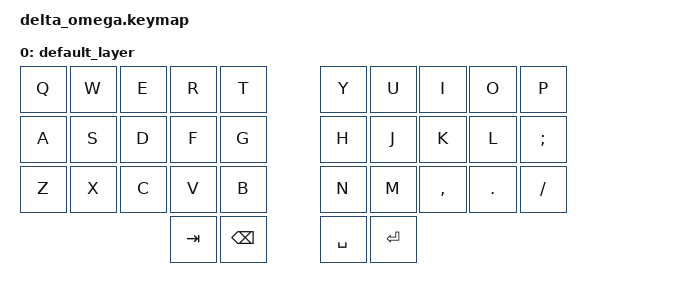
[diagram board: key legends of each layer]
#include <behaviors.dtsi>
#include <dt-bindings/zmk/keys.h>
#include <dt-bindings/zmk/bt.h>
#include <dt-bindings/zmk/outputs.h>

&mt {
    flavor = "balanced";
    tapping-term-ms = <170>;
};

&lt {
    flavor = "balanced";
    tapping-term-ms = <170>;
};

/ {
    keymap {
        compatible = "zmk,keymap";

        default_layer {
            bindings = <
                &kp Q     &kp W     &kp E     &kp R     &kp T     &kp Y     &kp U     &kp I     &kp O     &kp P
                &kp A     &kp S     &kp D     &kp F     &kp G     &kp H     &kp J     &kp K     &kp L     &kp SEMI
                &kp Z     &kp X     &kp C     &kp V     &kp B     &kp N     &kp M     &kp COMMA &kp DOT   &kp SLASH
                                              &kp TAB   &kp BSPC  &kp SPACE &kp ENTER
            >;
        };

    };
};
